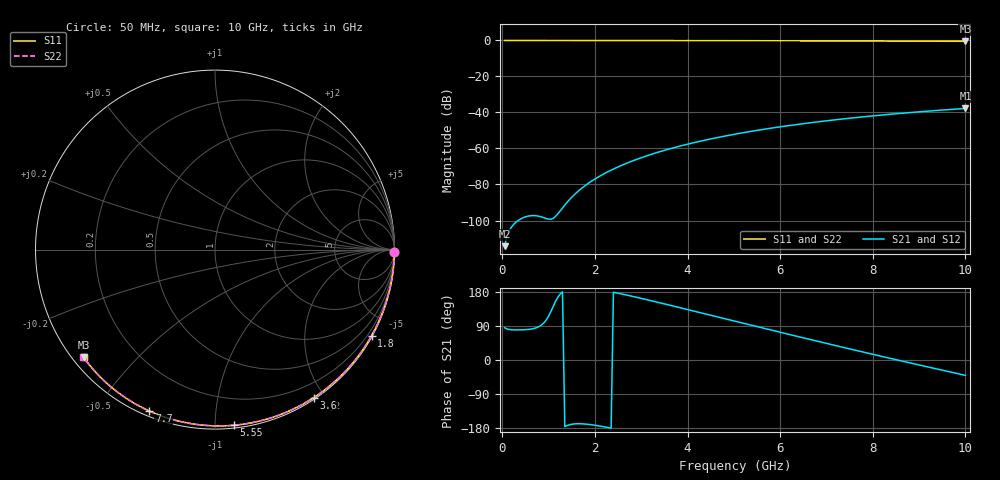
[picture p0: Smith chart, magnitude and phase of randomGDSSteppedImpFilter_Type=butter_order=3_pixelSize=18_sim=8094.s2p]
! freq	dB(S11)	phase(S11)	dB(S12)	phase(S12)
!  dB(S21)	phase(S21)	dB(S22)	phase(S22)
!S-par simulation data
#  GHz  S  DB  R 50
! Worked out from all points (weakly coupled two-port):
!   200 points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, 50 MHz to 10 GHz, reference 50 ohm
!   highest |S21| = -37.76 dB at 10 GHz (marker M1); lowest = -114.3 dB at 50 MHz (marker M2)
!   lowest |S11| = -0.5 dB at 10 GHz (marker M3), VSWR 36.55, Z = 1.54 - j17.8 ohm
!   |S11| at or under -10 dB: nowhere
!   |S22| runs from -0.5 to 0.0 dB; largest |S21 - S12| = 0
!   S11 on the Smith chart (normalised r, x): 50 MHz: open; 1.8 GHz: 0.03, -3.89; 3.6 GHz: 0.02, -1.87; 5.55 GHz: 0.02, -1.11; 7.7 GHz: 0.02, -0.67; 10 GHz: 0.03, -0.36
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0.05  -0.00 -0.8  -114.25 85.3  -114.25 85.3  -0.00 -0.8
0.45  -0.01 -7.3  -98.45 79.7  -98.45 79.7  -0.01 -7.3
0.9  -0.02 -14.6  -98.48 98.3  -98.48 98.3  -0.02 -14.6
1.75  -0.04 -28.0  -81.38 -168.7  -81.38 -168.7  -0.04 -28.1
1.8  -0.04 -28.8  -80.41 -169.1  -80.41 -169.1  -0.04 -28.9
1.85  -0.04 -29.6  -79.49 -169.7  -79.49 -169.7  -0.04 -29.7
2.05  -0.04 -32.7  -76.17 -173.1  -76.17 -173.1  -0.04 -32.8
2.2  -0.04 -35.1  -74.00 -176.3  -74.00 -176.3  -0.04 -35.1
2.55  -0.05 -40.5  -69.65 175.0  -69.65 175.0  -0.05 -40.5
2.95  -0.06 -46.6  -65.58 164.0  -65.58 164.0  -0.06 -46.6
3.4  -0.07 -53.3  -61.78 151.0  -61.78 151.0  -0.07 -53.4
3.6  -0.08 -56.3  -60.29 145.1  -60.29 145.1  -0.08 -56.4
3.9  -0.08 -60.7  -58.25 136.2  -58.25 136.2  -0.08 -60.8
4.3  -0.09 -66.5  -55.81 124.2  -55.81 124.2  -0.09 -66.6
5.05  -0.12 -77.1  -51.93 101.6  -51.93 101.6  -0.12 -77.2
5.55  -0.14 -83.9  -49.73 86.7  -49.73 86.7  -0.14 -84.0
6.1  -0.16 -91.3  -47.60 70.3  -47.60 70.3  -0.16 -91.4
6.7  -0.19 -99.3  -45.55 52.6  -45.55 52.6  -0.19 -99.3
7.7  -0.26 -112.1  -42.65 23.6  -42.65 23.6  -0.26 -112.2
8.35  -0.31 -120.2  -41.05 5.1  -41.05 5.1  -0.31 -120.3
9.2  -0.39 -130.8  -39.23 -18.7  -39.23 -18.7  -0.39 -130.9
10  -0.48 -140.7  -37.76 -40.5  -37.76 -40.5  -0.47 -140.9
